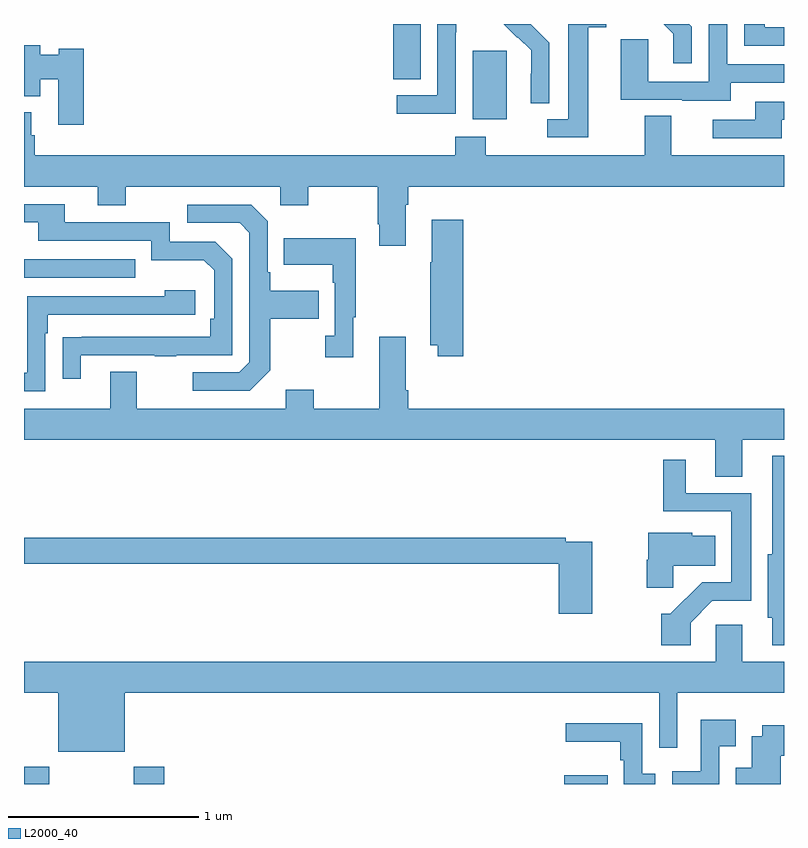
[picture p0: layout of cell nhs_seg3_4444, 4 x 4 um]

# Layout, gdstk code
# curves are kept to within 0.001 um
import gdstk
lib = gdstk.Library(unit=1e-6, precision=1e-09)
def R(c, l, rs):  # rectangles x0, y0, x1, y1
    for r in rs: c.add(gdstk.rectangle(r[:2], r[2:], *l))
def P(c, l, *ps):  # polygons
    for p in ps: c.add(gdstk.Polygon(p, *l))
L2000_40 = (2000, 40)

nhs_seg3_4444 = lib.new_cell('nhs_seg3_4444')
R(nhs_seg3_4444, L2000_40, [(347,736.4,347.133,736.492), (347.578,736.4,347.738,736.492), (349.844,736.4,350.072,736.447), (347,739.065,347.585,739.161), (349.361,739.898,349.54,740.259), (348.944,740.11,349.087,740.4)])
P(nhs_seg3_4444, L2000_40, [(351,740.382),(350.899,740.382),(350.899,740.4),(350.79,740.4),(350.79,740.286),(351,740.286)],
  [(350.719,740.091),(351,740.091),(351,740.187),(350.7,740.187),(350.7,740.4),(350.604,740.4),(350.604,740.097),(350.286,740.097),(350.286,740.321),(350.141,740.321),(350.141,740.001),(350.465,740.001),(350.465,739.997),(350.719,739.997)],
  [(350.514,740.386),(350.5,740.4),(350.366,740.4),(350.417,740.349),(350.417,740.193),(350.514,740.193)],
  [(349.272,740.356),(349.275,740.356),(349.275,740.4),(349.176,740.4),(349.176,740.025),(348.963,740.025),(348.963,739.927),(349.272,739.927)],
  [(349.764,740.302),(349.691,740.375),(349.692,740.376),(349.668,740.4),(349.524,740.4),(349.596,740.328),(349.599,740.331),(349.67,740.261),(349.67,740.138),(349.668,740.138),(349.668,739.984),(349.764,739.984)],
  [(349.969,740.384),(350.065,740.384),(350.065,740.4),(349.865,740.4),(349.865,739.899),(349.755,739.899),(349.755,739.803),(349.969,739.803)],
  [(347.315,740.27),(347.184,740.27),(347.184,740.239),(347.086,740.239),(347.086,740.287),(347,740.287),(347,740.021),(347.086,740.021),(347.086,740.11),(347.18,740.11),(347.18,739.869),(347.315,739.869)],
  [(350.989,739.896),(351,739.896),(351,739.992),(350.849,739.992),(350.849,739.896),(350.625,739.896),(350.625,739.8),(350.989,739.8)],
  [(349.009,739.448),(349.022,739.448),(349.022,739.544),(351,739.544),(351,739.708),(350.407,739.708),(350.407,739.916),(350.267,739.916),(350.267,739.708),(349.431,739.708),(349.431,739.807),(349.271,739.807),(349.271,739.708),(347.057,739.708),(347.057,739.815),(347.038,739.815),(347.038,739.936),(347,739.936),(347,739.544),(347.387,739.544),(347.387,739.445),(347.535,739.445),(347.535,739.544),(348.348,739.544),(348.348,739.445),(348.495,739.445),(348.495,739.544),(348.862,739.544),(348.862,739.345),(348.869,739.345),(348.869,739.233),(349.009,739.233)],
  [(347.299,738.657),(347.689,738.657),(347.689,738.652),(347.801,738.652),(347.801,738.657),(348.096,738.657),(348.096,739.164),(348.006,739.254),(347.766,739.254),(347.766,739.356),(347.215,739.356),(347.215,739.452),(347,739.452),(347,739.356),(347.075,739.356),(347.075,739.26),(347.67,739.26),(347.67,739.157),(347.947,739.157),(348,739.104),(348,738.85),(347.98,738.85),(347.98,738.753),(347.203,738.752),(347.203,738.534),(347.299,738.534)],
  [(348.295,738.577),(348.295,738.85),(348.551,738.85),(348.551,738.997),(348.295,738.997),(348.295,739.093),(348.282,739.093),(348.282,739.362),(348.195,739.449),(347.859,739.449),(347.859,739.353),(348.135,739.353),(348.186,739.302),(348.186,738.621),(348.132,738.567),(347.889,738.567),(347.889,738.471),(348.189,738.471)],
  [(349.313,739.369),(349.145,739.369),(349.145,739.145),(349.138,739.145),(349.138,738.71),(349.178,738.71),(349.178,738.651),(349.313,738.651)],
  [(348.733,738.857),(348.745,738.857),(348.745,739.273),(348.367,739.273),(348.367,739.133),(348.624,739.133),(348.624,739.037),(348.636,739.037),(348.636,738.758),(348.585,738.758),(348.585,738.645),(348.733,738.645)],
  [(347.112,738.773),(347.125,738.773),(347.125,738.87),(347.902,738.87),(347.902,739),(347.741,739),(347.741,738.966),(347.016,738.966),(347.016,738.564),(347,738.564),(347,738.468),(347.112,738.468)],
  [(350.779,738.212),(351,738.212),(351,738.376),(349.022,738.376),(349.022,738.472),(349.009,738.472),(349.009,738.754),(348.869,738.754),(348.869,738.376),(348.525,738.376),(348.525,738.475),(348.377,738.475),(348.377,738.376),(347.593,738.376),(347.593,738.571),(347.453,738.571),(347.453,738.376),(347,738.376),(347,738.212),(350.639,738.212),(350.639,738.018),(350.779,738.018)],
  [(351,738.127),(350.939,738.127),(350.939,737.61),(350.915,737.61),(350.915,737.274),(350.939,737.274),(350.939,737.129),(351,737.129)],
  [(350.508,737.25),(350.622,737.364),(350.827,737.364),(350.827,737.931),(350.482,737.931),(350.482,738.106),(350.365,738.106),(350.365,737.835),(350.723,737.835),(350.723,737.461),(350.569,737.461),(350.483,737.374),(350.481,737.376),(350.401,737.296),(350.353,737.296),(350.353,737.13),(350.508,737.13)],
  [(350.417,737.549),(350.638,737.549),(350.638,737.707),(350.517,737.707),(350.517,737.722),(350.285,737.722),(350.285,737.58),(350.278,737.58),(350.278,737.433),(350.417,737.433)],
  [(349.992,737.676),(349.85,737.676),(349.85,737.696),(347,737.696),(347,737.56),(349.814,737.56),(349.814,737.295),(349.992,737.295)],
  [(347.53,736.88),(350.343,736.88),(350.343,736.59),(350.439,736.59),(350.439,736.88),(351,736.88),(351,737.044),(350.779,737.044),(350.779,737.239),(350.64,737.239),(350.64,737.044),(347,737.044),(347,736.88),(347.18,736.88),(347.18,736.571),(347.53,736.571)],
  [(350.658,736.598),(350.746,736.598),(350.746,736.738),(350.562,736.738),(350.562,736.468),(350.412,736.468),(350.412,736.4),(350.658,736.4)],
  [(350.323,736.455),(350.253,736.455),(350.253,736.72),(349.851,736.72),(349.851,736.622),(350.137,736.622),(350.137,736.526),(350.157,736.526),(350.157,736.4),(350.323,736.4)],
  [(350.983,736.55),(351,736.55),(351,736.708),(350.885,736.708),(350.885,736.651),(350.831,736.651),(350.831,736.486),(350.747,736.486),(350.747,736.4),(350.983,736.4)])

lib.write_gds('nhs_seg3_4444.gds')
